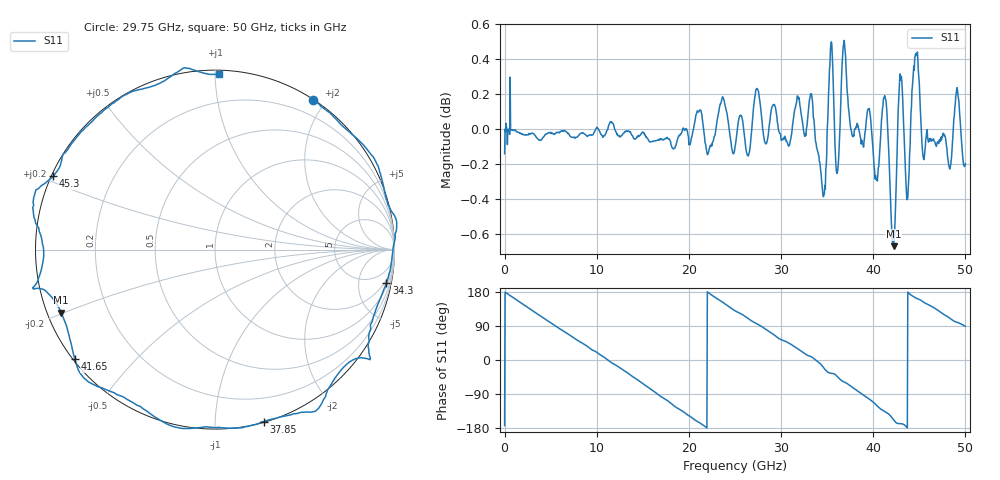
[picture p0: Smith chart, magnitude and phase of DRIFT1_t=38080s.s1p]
!Created with skrf (http://scikit-rf.org).
# Hz S RI R 50.0
!freq ReS11 ImS11
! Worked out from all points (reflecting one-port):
!   1001 points, 300 kHz to 50 GHz, reference 50 ohm
!   lowest |S11| = -0.7 dB at 42.2 GHz (marker M1), VSWR 25.93, Z = 2 - j9.83 ohm
!   phase of S11 starts at -173 deg and turns -818 deg over the sweep
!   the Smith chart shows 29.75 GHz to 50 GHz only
!   S11 on the Smith chart (normalised r, x): 29.75 GHz: 0.00, +1.85; 34.3 GHz: 1, -10; 37.85 GHz: 0.01, -1.32; 41.65 GHz: 0.01, -0.34; 45.3 GHz: 0.01, +0.22; 50 GHz: 0.02, +1.02
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300000  -0.9769 -0.117
1.450291e9  -0.9125 0.4045
3.25028e9  -0.5925 0.8009
6.250262e9  0.2011 0.9786
9.450243e9  0.8855 0.456
1.250022e10  0.9317 -0.3486
1.580021e10  0.2397 -0.9622
1.74002e10  -0.2216 -0.9686
1.875019e10  -0.5973 -0.7935
2.150017e10  -0.9927 -0.1551
2.345016e10  -0.9288 0.4137
2.500015e10  -0.6344 0.7578
2.740014e10  -0.0971 1.023
2.975012e10  0.5472 0.8355
3.125011e10  0.7863 0.6226
3.31501e10  1.006 0.1747
3.430009e10  0.9552 -0.1843
3.525009e10  0.8604 -0.5845
3.750008e10  0.3736 -0.9307
3.785007e10  0.2713 -0.9584
3.960006e10  -0.2366 -0.9846
4.165005e10  -0.7816 -0.6088
4.220005e10  -0.8567 -0.3508
4.290004e10  -1.014 -0.2182
4.375004e10  -0.956 0.0126
4.530003e10  -0.9001 0.4102
4.770001e10  -0.493 0.8651
5e10  0.0222 0.9772
